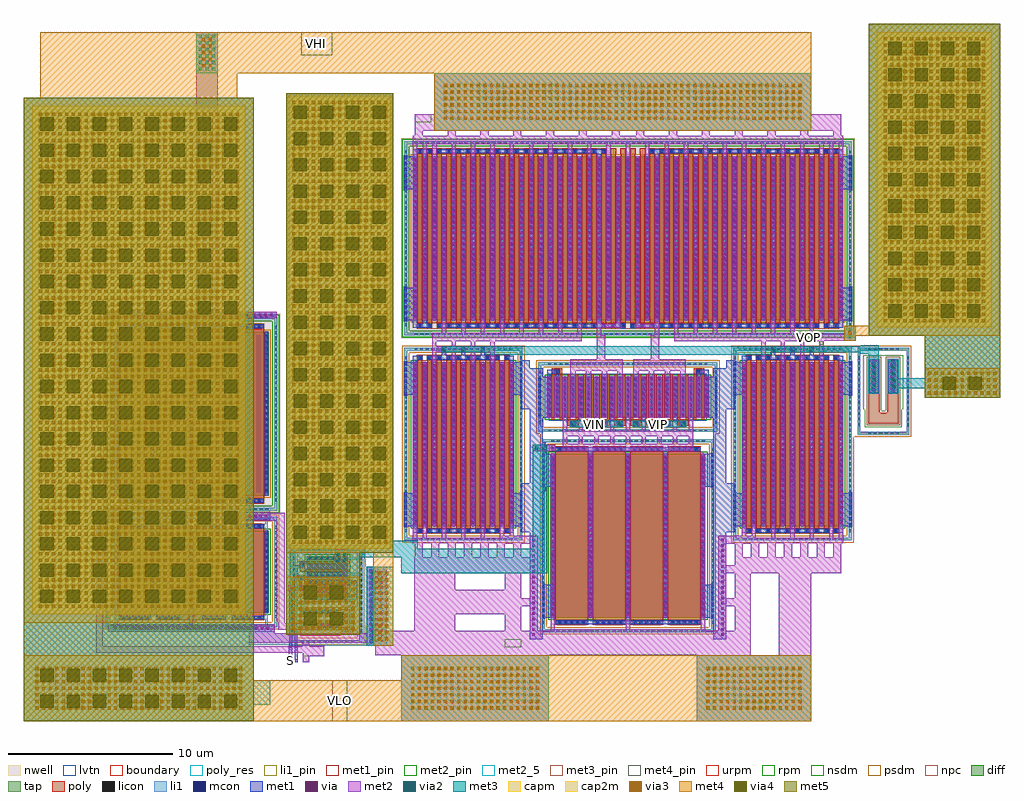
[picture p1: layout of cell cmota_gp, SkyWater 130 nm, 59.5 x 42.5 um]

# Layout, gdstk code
from math import pi, radians
import gdstk
lib = gdstk.Library(unit=1e-6, precision=1e-09)
def R(c, l, rs):  # rectangles x0, y0, x1, y1
    for r in rs: c.add(gdstk.rectangle(r[:2], r[2:], *l))
def A(c, l, x, y, w, h, nx, ny, dx, dy):  # array of equal rectangles
    R(c, l, [(x+i*dx, y+j*dy, x+i*dx+w, y+j*dy+h) for i in range(nx) for j in range(ny)])
nwell = (64, 20)
diff = (65, 20)
tap = (65, 44)
poly_res = (66, 13)
poly = (66, 20)
licon = (66, 44)
li1_pin = (67, 16)
li1 = (67, 20)
mcon = (67, 44)
met1_pin = (68, 16)
met1 = (68, 20)
via = (68, 44)
met2_5 = (69, 5)
met2_pin = (69, 16)
met2 = (69, 20)
via2 = (69, 44)
met3_pin = (70, 16)
met3 = (70, 20)
via3 = (70, 44)
met4_pin = (71, 16)
met4 = (71, 20)
via4 = (71, 44)
met5 = (72, 20)
urpm = (79, 20)
rpm = (86, 20)
capm = (89, 44)
nsdm = (93, 44)
psdm = (94, 20)
npc = (95, 20)
cap2m = (97, 44)
lvtn = (125, 44)
boundary = (235, 4)

imirror2 = lib.new_cell('imirror2')
R(imirror2, nwell, [(19.49,7.09,30.32,19.28)])
R(imirror2, diff, [(20.175,1.035,29.625,6.035), (20.18,8.185,29.63,18.185)])
R(imirror2, tap, [(19.665,0.165,30.135,0.335), (19.665,0.335,19.835,6.735), (29.965,0.335,30.135,6.735), (19.665,6.735,30.135,6.905), (19.67,7.27,30.14,7.44), (19.67,7.44,19.84,18.93), (29.97,7.44,30.14,18.93), (19.67,18.93,30.14,19.1)])
A(imirror2, poly, 20.465, 0.595, 2, 5.88, 4, 1, 2.29, 0)
A(imirror2, poly, 20.47, 7.7, 2, 10.97, 4, 1, 2.29, 0)
A(imirror2, licon, 20.225, 0.165, 0.17, 0.17, 28, 2, 0.34, 6.57)
A(imirror2, licon, 20.7, 0.675, 0.17, 0.17, 5, 2, 0.34, 5.55)
A(imirror2, licon, 22.91, 0.675, 0.17, 0.17, 4, 1, 0.34, 0)
A(imirror2, licon, 25.7, 0.675, 0.17, 0.17, 4, 1, 0.34, 0)
A(imirror2, licon, 27.57, 0.675, 0.17, 0.17, 5, 2, 0.34, 5.55)
A(imirror2, licon, 19.665, 0.73, 0.17, 0.17, 1, 17, 0, 0.34)
A(imirror2, licon, 29.965, 0.73, 0.17, 0.17, 1, 17, 0, 0.34)
A(imirror2, licon, 20.235, 1.24, 0.17, 0.17, 5, 14, 2.29, 0.34)
A(imirror2, licon, 22.99, 6.225, 0.17, 0.17, 5, 1, 0.34, 0)
A(imirror2, licon, 25.28, 6.225, 0.17, 0.17, 5, 1, 0.34, 0)
A(imirror2, licon, 20.23, 7.27, 0.17, 0.17, 28, 2, 0.34, 11.66)
A(imirror2, licon, 20.705, 7.78, 0.17, 0.17, 5, 2, 0.34, 10.64)
A(imirror2, licon, 22.995, 7.78, 0.17, 0.17, 5, 2, 0.34, 10.64)
A(imirror2, licon, 25.285, 7.78, 0.17, 0.17, 5, 2, 0.34, 10.64)
A(imirror2, licon, 27.575, 7.78, 0.17, 0.17, 5, 2, 0.34, 10.64)
A(imirror2, licon, 19.67, 7.83, 0.17, 0.17, 1, 32, 0, 0.34)
A(imirror2, licon, 29.97, 7.83, 0.17, 0.17, 1, 32, 0, 0.34)
A(imirror2, licon, 20.24, 8.34, 0.17, 0.17, 5, 29, 2.29, 0.34)
A(imirror2, li1, 20.47, 7.78, 2, 0.17, 4, 2, 2.29, 10.64)
A(imirror2, li1, 20.24, 8.165, 0.17, 10.04, 5, 1, 2.29, 0)
R(imirror2, li1, [(19.8,-0.1,30,0.165), (19.665,0.165,30.135,0.335), (19.665,0.335,19.835,6.735), (20.235,0.335,20.405,0.675), (24.815,0.335,24.985,6.055), (29.395,0.335,29.565,0.675), (29.965,0.335,30.135,6.735), (20.235,0.675,22.465,0.845), (22.755,0.675,24.255,0.845), (25.545,0.675,27.045,0.845), (27.335,0.675,29.565,0.845), (20.235,0.845,20.405,6.225), (29.395,0.845,29.565,6.225), (22.525,1.015,22.695,6.055), (27.105,1.015,27.275,6.055), (20.235,6.225,22.465,6.395), (22.755,6.225,24.755,6.395), (25.045,6.225,27.045,6.395), (27.335,6.225,29.565,6.395), (20.235,6.395,20.405,6.735), (29.395,6.395,29.565,6.735), (19.665,6.735,30.135,6.905), (19.67,7.27,30.14,7.44), (19.67,7.44,19.84,18.93), (29.97,7.44,30.14,18.93), (19.67,18.93,30.14,19.1), (19.8,19.1,30.1,19.4)])
A(imirror2, mcon, 20.135, 0.015, 0.17, 0.17, 27, 1, 0.36, 0)
A(imirror2, mcon, 20.66, 0.675, 0.17, 0.17, 5, 2, 0.36, 5.55)
A(imirror2, mcon, 22.88, 0.675, 0.17, 0.17, 4, 1, 0.36, 0)
A(imirror2, mcon, 25.67, 0.675, 0.17, 0.17, 4, 1, 0.36, 0)
A(imirror2, mcon, 27.53, 0.675, 0.17, 0.17, 5, 2, 0.36, 5.55)
A(imirror2, mcon, 20.235, 1.11, 0.17, 0.17, 5, 14, 2.29, 0.36)
A(imirror2, mcon, 22.95, 6.225, 0.17, 0.17, 5, 1, 0.36, 0)
A(imirror2, mcon, 25.24, 6.225, 0.17, 0.17, 5, 1, 0.36, 0)
A(imirror2, mcon, 20.665, 7.78, 0.17, 0.17, 5, 2, 0.36, 10.64)
A(imirror2, mcon, 22.955, 7.78, 0.17, 0.17, 5, 2, 0.36, 10.64)
A(imirror2, mcon, 25.245, 7.78, 0.17, 0.17, 5, 2, 0.36, 10.64)
A(imirror2, mcon, 27.535, 7.78, 0.17, 0.17, 5, 2, 0.36, 10.64)
A(imirror2, mcon, 20.24, 8.42, 0.17, 0.17, 5, 27, 2.29, 0.36)
A(imirror2, mcon, 20.005, 19.115, 0.17, 0.17, 28, 1, 0.36, 0)
A(imirror2, met1, 20.49, 18.39, 1.96, 0.23, 4, 1, 2.29, 0)
R(imirror2, met1, [(19.8,-0.1,30,0.3), (20.485,0.645,22.445,0.875), (22.775,0.645,24.235,0.875), (25.565,0.645,27.025,0.875), (27.355,0.645,29.315,0.875), (20.205,1.035,20.435,6.035), (22.48,1.035,22.74,6.035), (24.77,1.035,25.03,6.035), (27.06,1.035,27.32,5.73), (29.365,1.035,29.595,6.035), (26.745,5.73,27.32,6.035), (26.745,6.035,27.05,6.195), (20.485,6.195,22.445,6.425), (22.775,6.195,24.735,6.425), (25.065,6.195,27.05,6.425), (27.355,6.195,29.315,6.425), (22.775,6.425,24.73,6.6), (26.745,6.425,27.05,6.725), (19.7,6.6,24.73,6.66), (19.7,6.66,24.6,7.1), (27.6,6.7,29.7,6.725), (26.745,6.725,29.7,7.03), (27.6,7.03,29.7,7.2), (19.7,7.1,21.3,7.3), (20.49,7.75,22.45,7.98), (22.78,7.75,27.03,7.78), (27.36,7.75,29.32,7.98), (22.76,7.78,27.03,7.98), (22.76,7.98,23.035,8.185), (20.21,8.185,20.44,18.185), (22.485,8.185,23.035,8.475), (24.775,8.185,25.035,18.185), (27.065,8.185,27.325,18.185), (29.37,8.185,29.6,18.185), (22.485,8.475,22.745,18.185), (19.8,19,30.1,19.4)])
A(imirror2, via, 20.185, 0.025, 0.15, 0.15, 30, 1, 0.32, 0)
A(imirror2, via, 22.535, 1.22, 0.15, 0.15, 3, 15, 2.29, 0.32)
A(imirror2, via, 27.775, 6.875, 0.15, 0.15, 6, 1, 0.32, 0)
A(imirror2, via, 19.945, 6.925, 0.15, 0.15, 4, 1, 0.32, 0)
A(imirror2, via, 22.54, 8.31, 0.15, 0.15, 3, 31, 2.29, 0.32)
A(imirror2, via, 20.075, 19.125, 0.15, 0.15, 31, 1, 0.32, 0)
R(imirror2, met2_5, [(19.8,-0.1,20,0.3), (29.6,6.7,29.7,7.2), (19.8,19,20,19.4)])
R(imirror2, met2_pin, [(19.5,6.6,19.8,7.3)])
R(imirror2, met2, [(19.8,-0.1,30,0.3), (24.77,0.3,25.03,6.035), (22.48,1.035,22.74,8.185), (27.06,1.035,27.32,8.185), (19.5,6.6,19.8,6.7), (19.5,6.7,21.3,7.3), (27.6,6.7,29.7,7.2), (22.48,8.185,22.745,15.94), (24.775,8.185,25.035,19), (27.06,8.185,27.325,8.295), (27.065,8.295,27.325,18.185), (22.485,15.94,22.745,18.185), (19.8,19,30.1,19.4)])
R(imirror2, nsdm, [(20.05,0.91,29.75,6.16), (19.545,7.145,30.265,7.565), (19.545,7.565,19.965,18.805), (29.845,7.565,30.265,18.805), (19.545,18.805,30.265,19.225)])
R(imirror2, psdm, [(19.54,0.04,30.26,0.46), (19.54,0.46,19.96,6.61), (29.84,0.46,30.26,6.61), (19.54,6.61,30.26,7.03), (20.055,8.06,29.755,18.31)])
A(imirror2, npc, 20.6, 6.125, 1.73, 0.37, 4, 1, 2.29, 0)
A(imirror2, npc, 20.605, 7.68, 1.73, 0.37, 4, 2, 2.29, 10.64)
R(imirror2, npc, [(20.6,0.575,22.33,0.945), (22.81,0.575,24.2,0.945), (25.6,0.575,26.99,0.945), (27.47,0.575,29.2,0.945)])
imirror2.add(gdstk.Label('IN', (19.65,6.95), layer=69, texttype=16))
imirror2.add(gdstk.Label('OUT', (29.65,6.95), layer=69, texttype=5))
imirror2.add(gdstk.Label('VHI', (19.9,19.2), layer=69, texttype=5))
imirror2.add(gdstk.Label('VLO', (19.9,0.1), layer=69, texttype=5))

gated_iref_fix = lib.new_cell('gated_iref_fix')
R(gated_iref_fix, diff, [(8.1,0.75,10.79,3.25)])
R(gated_iref_fix, tap, [(5.51,-0.12,11.3,0.05), (5.51,0.05,5.68,3.95), (11.13,0.05,11.3,3.95), (5.51,3.95,11.3,4.12)])
R(gated_iref_fix, poly_res, [(6.39,2.63,6.74,3.02), (7.22,2.63,7.57,3.02), (6.39,3.02,7.57,3.37)])
R(gated_iref_fix, poly, [(9.285,0.22,9.6,0.66), (8.41,0.31,9.04,0.64), (9.85,0.31,10.48,0.64), (6.39,0.53,6.74,3.02), (7.22,0.53,7.57,3.02), (8.41,0.64,8.56,3.38), (8.89,0.64,9.04,3.38), (9.85,0.64,10,3.38), (10.33,0.64,10.48,3.38), (9.37,0.66,9.52,3.38), (6.39,3.02,7.57,3.37)])
A(gated_iref_fix, licon, 6.16, -0.12, 0.17, 0.17, 14, 2, 0.34, 4.07)
A(gated_iref_fix, licon, 5.51, 0.385, 0.17, 0.17, 1, 10, 0, 0.34)
A(gated_iref_fix, licon, 11.13, 0.385, 0.17, 0.17, 1, 10, 0, 0.34)
A(gated_iref_fix, licon, 8.16, 0.895, 0.17, 0.17, 6, 7, 0.48, 0.34)
R(gated_iref_fix, licon, [(9.36,0.355,9.53,0.525), (8.79,0.39,8.96,0.56), (10.23,0.39,10.4,0.56), (6.47,0.61,6.66,2.61), (7.3,0.61,7.49,2.61)])
R(gated_iref_fix, li1_pin, [(5.34,4.31,6.62,4.4)])
R(gated_iref_fix, li1, [(5.4,-2.8,6.4,-1.2), (5.4,-1.2,6.1,-0.29), (5.34,-0.29,11.47,0.05), (5.34,0.05,5.68,3.95), (9.345,0.05,9.545,0.355), (11.13,0.05,11.47,3.95), (6.39,0.335,6.74,2.69), (7.22,0.335,8.33,0.59), (9.28,0.355,9.61,0.525), (8.71,0.39,9.04,0.56), (10.15,0.39,10.48,0.56), (7.22,0.59,7.57,2.69), (8.16,0.59,8.33,3.27), (8.64,0.73,8.81,3.27), (9.12,0.73,9.29,3.27), (9.6,0.73,9.77,3.95), (10.08,0.73,10.25,3.27), (10.56,0.73,10.73,3.95), (5.34,3.95,11.47,4.29), (5.34,4.29,10.62,4.33), (5.34,4.33,10.14,4.9)])
A(gated_iref_fix, mcon, 6.48, 0.545, 0.17, 0.17, 1, 6, 0, 0.36)
A(gated_iref_fix, mcon, 8.16, 0.835, 0.17, 0.17, 6, 7, 0.48, 0.36)
A(gated_iref_fix, mcon, 5.495, 4.565, 0.17, 0.17, 13, 1, 0.36, 0)
R(gated_iref_fix, mcon, [(8.79,0.39,8.96,0.56), (10.23,0.39,10.4,0.56)])
R(gated_iref_fix, met1_pin, [(5.2,-0.31,5.32,-0.15), (5.2,0,5.32,0.16)])
R(gated_iref_fix, met1, [(8.64,-0.405,9.04,-0.315), (5.195,-0.315,9.045,-0.145), (5.19,-0.005,10.25,0.165), (10.08,0.165,10.25,0.36), (8.64,0.33,9.04,0.59), (6.39,0.335,6.74,2.69), (10.08,0.36,10.48,0.59), (10.035,0.745,10.295,3.25), (8.13,0.75,8.36,3.59), (8.595,0.75,8.855,3.25), (9.09,0.75,9.32,3.59), (9.57,0.75,9.8,3.25), (10.53,0.75,10.76,3.25), (8.13,3.59,9.32,3.79), (5.34,4.4,10.14,5.6)])
A(gated_iref_fix, via, 6.49, 0.645, 0.15, 0.15, 1, 6, 0, 0.32)
A(gated_iref_fix, via, 8.65, 0.965, 0.15, 0.15, 1, 7, 0, 0.32)
A(gated_iref_fix, via, 10.09, 0.965, 0.15, 0.15, 1, 7, 0, 0.32)
A(gated_iref_fix, via, 5.585, 4.605, 0.15, 0.15, 14, 3, 0.32, 0.32)
R(gated_iref_fix, via, [(8.755,-0.35,8.905,-0.2), (8.75,0.385,8.9,0.535)])
R(gated_iref_fix, met2, [(4.9,-12.1,13.6,-11.7), (4.9,-11.7,5.3,1), (12.9,-11.7,13.6,-11.4), (12.95,-3.55,13.45,-1.1), (5.5,-2.8,6.2,-1.2), (5.5,-1.2,6.1,4.4), (6.8,-1.1,13.45,-1), (6.3,-1,13.45,-0.6), (6.3,-0.6,6.7,0.335), (8.64,-0.405,9.04,-0.145), (8.7,-0.145,8.96,0.33), (8.64,0.33,9.04,0.59), (6.3,0.335,6.74,1.5), (10.035,0.745,10.295,2.45), (8.595,0.75,8.855,2.9), (4.7,1,5.3,1.8), (6.39,1.5,6.74,2.69), (10.035,2.45,11.2,2.9), (8.595,2.9,11.2,3.25), (5.34,4.4,10.14,5.6)])
A(gated_iref_fix, via2, 5.64, 4.7, 0.2, 0.2, 11, 2, 0.4, 0.4)
R(gated_iref_fix, via2, [(10.425,2.55,10.625,2.75), (10.825,2.55,11.025,2.75), (10.425,2.95,10.625,3.15), (10.825,2.95,11.025,3.15)])
R(gated_iref_fix, met3, [(6,-0.5,39,4), (11,4,39,6), (5.34,4.4,10.14,6)])
A(gated_iref_fix, via3, 6.275, -0.15, 0.2, 0.2, 8, 10, 0.4, 0.4)
A(gated_iref_fix, via3, 11.55, -0.15, 0.2, 0.2, 68, 15, 0.4, 0.4)
A(gated_iref_fix, via3, 5.64, 5.1, 0.2, 0.2, 11, 2, 0.4, 0.4)
R(gated_iref_fix, met4, [(6,-0.5,9.55,4), (11,-0.5,39,4.8), (5.34,4.8,39,6)])
A(gated_iref_fix, via4, 11.85, -0.05, 0.8, 0.8, 17, 4, 1.6, 1.6)
R(gated_iref_fix, via4, [(6.575,0.55,7.375,1.35), (8.175,0.55,8.975,1.35), (6.575,2.15,7.375,2.95), (8.175,2.15,8.975,2.95)])
R(gated_iref_fix, met5, [(6,-0.5,39,4), (11,4,39,6)])
R(gated_iref_fix, urpm, [(5.93,0.33,8.03,2.82), (6.19,2.82,7.77,3.57)])
R(gated_iref_fix, capm, [(11.25,-0.35,38.85,5.85)])
R(gated_iref_fix, nsdm, [(7.975,0.625,10.915,3.375)])
R(gated_iref_fix, psdm, [(5.385,-0.245,11.425,0.175), (5.385,0.175,5.805,3.825), (6.28,0.175,7.68,3.825), (11.005,0.175,11.425,3.825), (5.385,3.825,11.425,4.245)])
R(gated_iref_fix, npc, [(9.26,0.255,9.63,0.29), (8.69,0.29,9.63,0.625), (10.13,0.29,10.5,0.66), (6.295,0.435,6.835,2.925), (7.125,0.435,7.665,2.925), (8.69,0.625,9.06,0.66), (6.295,2.925,7.665,3.465)])
R(gated_iref_fix, cap2m, [(11.25,-0.35,38.85,5.85)])
gated_iref_fix.add(gdstk.Reference(imirror2, (6.3,-31.2), rotation=pi/2, x_reflection=True))
gated_iref_fix.add(gdstk.Label('VSUB', (5.98,4.355), layer=67, texttype=16))
gated_iref_fix.add(gdstk.Label('SBAR', (5.26,0.08), layer=68, texttype=16))
gated_iref_fix.add(gdstk.Label('S', (5.26,-0.23), layer=68, texttype=16))

sky130_fd_pr__res_high_p = lib.new_cell('sky130_fd_pr__res_high_po_0p69_N63KD6')
R(sky130_fd_pr__res_high_p, tap, [(-1.58,-2.64,1.58,-2.47), (-1.58,-2.47,-1.41,2.47), (1.41,-2.47,1.58,2.47), (-1.58,2.47,1.58,2.64)])
R(sky130_fd_pr__res_high_p, poly_res, [(-0.93,0.11,-0.24,1.3), (0.24,0.11,0.93,1.3), (-0.93,1.3,0.93,1.99)])
R(sky130_fd_pr__res_high_p, poly, [(-0.93,-1.99,-0.24,1.3), (0.24,-1.99,0.93,1.3), (-0.93,1.3,0.93,1.99)])
A(sky130_fd_pr__res_high_p, licon, -0.935, -2.64, 0.17, 0.17, 6, 2, 0.34, 5.11)
A(sky130_fd_pr__res_high_p, licon, -1.58, -2.125, 0.17, 0.17, 1, 13, 0, 0.34)
A(sky130_fd_pr__res_high_p, licon, 1.41, -2.125, 0.17, 0.17, 1, 13, 0, 0.34)
R(sky130_fd_pr__res_high_p, licon, [(-0.68,-1.91,-0.49,0.09), (0.49,-1.91,0.68,0.09)])
R(sky130_fd_pr__res_high_p, li1, [(-1.58,-2.64,1.58,-2.47), (-1.58,-2.47,-1.41,2.47), (1.41,-2.47,1.58,2.47), (-0.93,-1.99,-0.24,0.17), (0.24,-1.99,0.93,0.17), (-1.58,2.47,1.58,2.64)])
R(sky130_fd_pr__res_high_p, rpm, [(-1.22,-2.19,1.22,1.1), (-1.13,1.1,1.13,2.19)])
R(sky130_fd_pr__res_high_p, psdm, [(-1.705,-2.765,1.705,2.765)])
R(sky130_fd_pr__res_high_p, npc, [(-1.025,-2.085,-0.145,1.205), (0.145,-2.085,1.025,1.205), (-1.025,1.205,1.025,2.085)])
R(sky130_fd_pr__res_high_p, boundary, [(-1.49,-2.55,1.49,2.55)])

cmota_1_flat_1 = lib.new_cell('cmota_1_flat_1')
R(cmota_1_flat_1, nwell, [(-0.815,0.33,26.815,12.52)])
R(cmota_1_flat_1, diff, [(8.275,-16.7,17.725,-6.7), (-0.13,-11.12,6.06,-1.12), (19.935,-11.12,26.125,-1.12), (8.055,-4.5,17.945,-2), (-0.125,1.425,26.125,11.425)])
R(cmota_1_flat_1, tap, [(7.765,-17.57,18.235,-17.4), (7.765,-17.4,7.935,-6), (18.065,-17.4,18.235,-6), (-0.64,-11.99,6.57,-11.82), (19.425,-11.99,26.635,-11.82), (-0.64,-11.82,-0.47,-0.42), (6.4,-11.82,6.57,-0.42), (19.425,-11.82,19.595,-0.42), (26.465,-11.82,26.635,-0.42), (7.765,-6,18.235,-5.83), (7.545,-5.37,18.455,-5.2), (7.545,-5.2,7.715,-1.3), (18.285,-5.2,18.455,-1.3), (7.545,-1.3,18.455,-1.13), (-0.64,-0.42,6.57,-0.25), (19.425,-0.42,26.635,-0.25), (-0.635,0.51,26.635,0.68), (-0.635,0.68,-0.465,12.17), (26.465,0.68,26.635,12.17), (-0.635,12.17,26.635,12.34)])
A(cmota_1_flat_1, poly, 8.565, -17.14, 2, 10.88, 4, 1, 2.29, 0)
A(cmota_1_flat_1, poly, 0.145, -11.56, 0.33, 0.33, 10, 2, 0.59, 10.55)
A(cmota_1_flat_1, poly, 20.21, -11.56, 0.33, 0.33, 10, 2, 0.59, 10.55)
A(cmota_1_flat_1, poly, 0.16, -11.23, 0.3, 10.22, 10, 1, 0.59, 0)
A(cmota_1_flat_1, poly, 20.225, -11.23, 0.3, 10.22, 10, 1, 0.59, 0)
A(cmota_1_flat_1, poly, 9.325, -5, 0.63, 0.39, 8, 1, 0.96, 0)
A(cmota_1_flat_1, poly, 9.325, -4.61, 0.15, 2.74, 16, 1, 0.48, 0)
A(cmota_1_flat_1, poly, 0.15, 0.94, 0.33, 0.33, 44, 2, 0.59, 10.64)
A(cmota_1_flat_1, poly, 0.165, 1.27, 0.3, 10.31, 44, 1, 0.59, 0)
R(cmota_1_flat_1, poly, [(8.365,-4.63,8.515,-1.87), (8.845,-4.63,8.995,-1.87), (17.005,-4.63,17.155,-1.87), (17.485,-4.63,17.635,-1.87), (8.365,-1.87,8.995,-1.48), (17.005,-1.87,17.635,-1.48)])
A(cmota_1_flat_1, licon, 8.325, -17.57, 0.17, 0.17, 28, 2, 0.34, 11.57)
A(cmota_1_flat_1, licon, 8.8, -17.06, 0.17, 0.17, 5, 2, 0.34, 10.55)
A(cmota_1_flat_1, licon, 11.09, -17.06, 0.17, 0.17, 5, 2, 0.34, 10.55)
A(cmota_1_flat_1, licon, 13.38, -17.06, 0.17, 0.17, 5, 2, 0.34, 10.55)
A(cmota_1_flat_1, licon, 15.67, -17.06, 0.17, 0.17, 5, 2, 0.34, 10.55)
A(cmota_1_flat_1, licon, 7.765, -17.055, 0.17, 0.17, 1, 32, 0, 0.34)
A(cmota_1_flat_1, licon, 18.065, -17.055, 0.17, 0.17, 1, 32, 0, 0.34)
A(cmota_1_flat_1, licon, 8.335, -16.545, 0.17, 0.17, 5, 29, 2.29, 0.34)
A(cmota_1_flat_1, licon, -0.01, -11.99, 0.17, 0.17, 18, 2, 0.34, 11.57)
A(cmota_1_flat_1, licon, 20.055, -11.99, 0.17, 0.17, 18, 2, 0.34, 11.57)
A(cmota_1_flat_1, licon, 0.225, -11.48, 0.17, 0.17, 10, 2, 0.59, 10.55)
A(cmota_1_flat_1, licon, 20.29, -11.48, 0.17, 0.17, 10, 2, 0.59, 10.55)
A(cmota_1_flat_1, licon, -0.64, -11.475, 0.17, 0.17, 1, 32, 0, 0.34)
A(cmota_1_flat_1, licon, 6.4, -11.475, 0.17, 0.17, 1, 32, 0, 0.34)
A(cmota_1_flat_1, licon, 19.425, -11.475, 0.17, 0.17, 1, 32, 0, 0.34)
A(cmota_1_flat_1, licon, 26.465, -11.475, 0.17, 0.17, 1, 32, 0, 0.34)
A(cmota_1_flat_1, licon, -0.07, -10.965, 0.17, 0.17, 11, 29, 0.59, 0.34)
A(cmota_1_flat_1, licon, 19.995, -10.965, 0.17, 0.17, 11, 29, 0.59, 0.34)
A(cmota_1_flat_1, licon, 8.155, -5.37, 0.17, 0.17, 29, 2, 0.34, 4.07)
A(cmota_1_flat_1, licon, 9.555, -4.92, 0.17, 0.17, 8, 1, 0.96, 0)
A(cmota_1_flat_1, licon, 7.545, -4.865, 0.17, 0.17, 1, 10, 0, 0.34)
A(cmota_1_flat_1, licon, 18.285, -4.865, 0.17, 0.17, 1, 10, 0, 0.34)
A(cmota_1_flat_1, licon, 8.115, -4.355, 0.17, 0.17, 21, 7, 0.48, 0.34)
A(cmota_1_flat_1, licon, -0.005, 0.51, 0.17, 0.17, 77, 2, 0.34, 11.66)
A(cmota_1_flat_1, licon, 0.23, 1.02, 0.17, 0.17, 44, 1, 0.59, 0)
A(cmota_1_flat_1, licon, -0.635, 1.07, 0.17, 0.17, 1, 32, 0, 0.34)
A(cmota_1_flat_1, licon, 26.465, 1.07, 0.17, 0.17, 1, 32, 0, 0.34)
A(cmota_1_flat_1, licon, -0.065, 1.58, 0.17, 0.17, 45, 29, 0.59, 0.34)
A(cmota_1_flat_1, licon, 0.23, 11.66, 0.17, 0.17, 20, 1, 0.59, 0)
A(cmota_1_flat_1, licon, 14.39, 11.66, 0.17, 0.17, 20, 1, 0.59, 0)
R(cmota_1_flat_1, licon, [(8.595,-1.79,8.765,-1.62), (17.235,-1.79,17.405,-1.62)])
A(cmota_1_flat_1, li1, 8.565, -17.06, 2, 0.17, 4, 2, 2.29, 10.55)
A(cmota_1_flat_1, li1, 8.335, -16.72, 0.17, 10.04, 5, 1, 2.29, 0)
A(cmota_1_flat_1, li1, 0.145, -11.48, 0.33, 0.17, 10, 2, 0.59, 10.55)
A(cmota_1_flat_1, li1, 20.21, -11.48, 0.33, 0.17, 10, 2, 0.59, 10.55)
A(cmota_1_flat_1, li1, -0.07, -11.14, 0.17, 10.04, 11, 1, 0.59, 0)
A(cmota_1_flat_1, li1, 19.995, -11.14, 0.17, 10.04, 11, 1, 0.59, 0)
A(cmota_1_flat_1, li1, 9.475, -4.92, 0.33, 0.17, 8, 1, 0.96, 0)
A(cmota_1_flat_1, li1, 8.115, -4.52, 0.17, 2.54, 21, 1, 0.48, 0)
A(cmota_1_flat_1, li1, 0.15, 1.02, 0.33, 0.17, 44, 1, 0.59, 0)
A(cmota_1_flat_1, li1, -0.065, 1.405, 0.17, 10.04, 45, 1, 0.59, 0)
A(cmota_1_flat_1, li1, 0.15, 11.66, 0.33, 0.17, 20, 1, 0.59, 0)
A(cmota_1_flat_1, li1, 14.31, 11.66, 0.33, 0.17, 20, 1, 0.59, 0)
R(cmota_1_flat_1, li1, [(7.765,-17.57,18.235,-17.4), (7.765,-17.4,7.935,-6), (18.065,-17.4,18.235,-6), (-0.64,-11.99,6.57,-11.82), (19.425,-11.99,26.635,-11.82), (-0.64,-11.82,-0.47,-0.42), (6.4,-11.82,6.57,-0.42), (19.425,-11.82,19.595,-0.42), (26.465,-11.82,26.635,-0.42), (7.765,-6,18.235,-5.83), (7.545,-5.37,18.455,-5.2), (7.545,-5.2,7.715,-1.3), (18.285,-5.2,18.455,-1.3), (8.515,-1.79,8.845,-1.62), (17.155,-1.79,17.485,-1.62), (7.545,-1.3,18.455,-1.13), (-0.64,-0.42,6.57,-0.25), (19.425,-0.42,26.635,-0.25), (-0.635,0.51,26.635,0.68), (-0.635,0.68,-0.465,12.17), (26.465,0.68,26.635,12.17), (-0.635,12.17,26.635,12.34)])
A(cmota_1_flat_1, mcon, 8.76, -17.06, 0.17, 0.17, 5, 2, 0.36, 10.55)
A(cmota_1_flat_1, mcon, 11.05, -17.06, 0.17, 0.17, 5, 2, 0.36, 10.55)
A(cmota_1_flat_1, mcon, 13.34, -17.06, 0.17, 0.17, 5, 2, 0.36, 10.55)
A(cmota_1_flat_1, mcon, 15.63, -17.06, 0.17, 0.17, 5, 2, 0.36, 10.55)
A(cmota_1_flat_1, mcon, 7.765, -16.685, 0.17, 0.17, 1, 6, 0, 0.36)
A(cmota_1_flat_1, mcon, 18.065, -16.685, 0.17, 0.17, 1, 6, 0, 0.36)
A(cmota_1_flat_1, mcon, 8.335, -16.465, 0.17, 0.17, 5, 27, 2.29, 0.36)
A(cmota_1_flat_1, mcon, 0.225, -11.48, 0.17, 0.17, 10, 2, 0.59, 10.55)
A(cmota_1_flat_1, mcon, 20.29, -11.48, 0.17, 0.17, 10, 2, 0.59, 10.55)
A(cmota_1_flat_1, mcon, -0.64, -11.105, 0.17, 0.17, 1, 6, 0, 0.36)
A(cmota_1_flat_1, mcon, 6.4, -11.105, 0.17, 0.17, 1, 6, 0, 0.36)
A(cmota_1_flat_1, mcon, 19.425, -11.105, 0.17, 0.17, 1, 6, 0, 0.36)
A(cmota_1_flat_1, mcon, 26.465, -11.105, 0.17, 0.17, 1, 6, 0, 0.36)
A(cmota_1_flat_1, mcon, -0.07, -10.885, 0.17, 0.17, 11, 27, 0.59, 0.36)
A(cmota_1_flat_1, mcon, 19.995, -10.885, 0.17, 0.17, 11, 27, 0.59, 0.36)
A(cmota_1_flat_1, mcon, 7.765, -8.685, 0.17, 0.17, 1, 6, 0, 0.36)
A(cmota_1_flat_1, mcon, 18.065, -8.685, 0.17, 0.17, 1, 6, 0, 0.36)
A(cmota_1_flat_1, mcon, 9.555, -4.92, 0.17, 0.17, 8, 1, 0.96, 0)
A(cmota_1_flat_1, mcon, 7.545, -4.415, 0.17, 0.17, 1, 7, 0, 0.36)
A(cmota_1_flat_1, mcon, 8.115, -4.415, 0.17, 0.17, 21, 7, 0.48, 0.36)
A(cmota_1_flat_1, mcon, 18.285, -4.415, 0.17, 0.17, 1, 7, 0, 0.36)
A(cmota_1_flat_1, mcon, -0.64, -3.105, 0.17, 0.17, 1, 6, 0, 0.36)
A(cmota_1_flat_1, mcon, 6.4, -3.105, 0.17, 0.17, 1, 6, 0, 0.36)
A(cmota_1_flat_1, mcon, 19.425, -3.105, 0.17, 0.17, 1, 6, 0, 0.36)
A(cmota_1_flat_1, mcon, 26.465, -3.105, 0.17, 0.17, 1, 6, 0, 0.36)
A(cmota_1_flat_1, mcon, 0.23, 1.02, 0.17, 0.17, 44, 1, 0.59, 0)
A(cmota_1_flat_1, mcon, -0.635, 1.44, 0.17, 0.17, 1, 6, 0, 0.36)
A(cmota_1_flat_1, mcon, 26.465, 1.44, 0.17, 0.17, 1, 6, 0, 0.36)
A(cmota_1_flat_1, mcon, -0.065, 1.66, 0.17, 0.17, 45, 27, 0.59, 0.36)
A(cmota_1_flat_1, mcon, -0.635, 9.44, 0.17, 0.17, 1, 6, 0, 0.36)
A(cmota_1_flat_1, mcon, 26.465, 9.44, 0.17, 0.17, 1, 6, 0, 0.36)
A(cmota_1_flat_1, mcon, 0.23, 11.66, 0.17, 0.17, 20, 1, 0.59, 0)
A(cmota_1_flat_1, mcon, 14.39, 11.66, 0.17, 0.17, 20, 1, 0.59, 0)
R(cmota_1_flat_1, mcon, [(8.595,-1.79,8.765,-1.62), (17.235,-1.79,17.405,-1.62)])
R(cmota_1_flat_1, met1_pin, [(8.36,-6.54,8.485,-6.31)])
A(cmota_1_flat_1, met1, 10.58, -16.7, 0.26, 10, 3, 1, 2.29, 0)
A(cmota_1_flat_1, met1, 0.475, -11.12, 0.26, 10, 9, 1, 0.59, 0)
A(cmota_1_flat_1, met1, 20.54, -11.12, 0.26, 10, 9, 1, 0.59, 0)
A(cmota_1_flat_1, met1, 9.445, -5, 0.39, 0.28, 8, 1, 0.96, 0)
A(cmota_1_flat_1, met1, 8.515, -4.5, 0.33, 2.5, 19, 1, 0.48, 0)
A(cmota_1_flat_1, met1, 1.655, -0.73, 0.26, 0.55, 3, 1, 1.18, 0)
A(cmota_1_flat_1, met1, 21.72, -0.73, 0.26, 0.55, 3, 1, 1.18, 0)
A(cmota_1_flat_1, met1, 1.07, 1.425, 0.26, 10, 17, 1, 0.59, 0)
A(cmota_1_flat_1, met1, 11.69, 1.425, 0.26, 10, 4, 1, 1.18, 0)
A(cmota_1_flat_1, met1, 15.82, 1.425, 0.26, 10, 16, 1, 0.59, 0)
R(cmota_1_flat_1, met1, [(7,-18,7.8,-16.76), (18.2,-18,19,-16.76), (8.585,-17.09,17.415,-16.86), (7,-16.76,7.965,-16.7), (18.035,-16.76,19,-16.7), (7,-16.7,8.55,-14.7), (17.45,-16.7,19,-14.7), (7,-14.7,7.965,-14.64), (8.29,-14.7,8.55,-8.7), (17.45,-14.7,17.71,-8.7), (18.035,-14.7,19,-14.64), (7,-14.64,7.8,-11.5), (18.2,-14.64,19,-11.5), (-0.115,-11.51,0.455,-11.28), (0.755,-11.51,5.175,-11.28), (5.475,-11.51,6.045,-11.28), (19.95,-11.51,20.52,-11.28), (20.82,-11.51,25.24,-11.28), (25.54,-11.51,26.11,-11.28), (6.5,-11.5,7.8,-11.18), (18.2,-11.5,19.5,-11.18), (-0.115,-11.28,0.145,-11.12), (5.785,-11.28,6.045,-11.12), (19.95,-11.28,20.21,-11.12), (25.85,-11.28,26.11,-11.12), (-0.67,-11.18,-0.44,-11.12), (6.37,-11.18,7.8,-11.12), (18.2,-11.18,19.625,-11.12), (26.435,-11.18,26.665,-11.12), (-0.67,-11.12,0.145,-9.12), (5.785,-11.12,7.8,-9.12), (18.2,-11.12,20.21,-9.12), (25.85,-11.12,26.665,-9.12), (-0.67,-9.12,-0.44,-9.06), (-0.115,-9.12,0.145,-3.12), (5.785,-9.12,6.045,-3.12), (6.37,-9.12,7.8,-9.06), (18.2,-9.12,19.625,-9.06), (19.95,-9.12,20.21,-3.12), (25.85,-9.12,26.11,-3.12), (26.435,-9.12,26.665,-9.06), (6.5,-9.06,7.8,-9), (18.2,-9.06,19.5,-8.76), (6.5,-9,8,-8.7), (18.035,-8.76,19.5,-8.7), (6.5,-8.7,8.55,-8.5), (17.45,-8.7,19.5,-8.5), (7,-8.5,8.55,-6.7), (17.45,-8.5,19,-6.7), (7,-6.7,8,-6), (18.035,-6.7,19,-6.64), (18.2,-6.64,19,-4.5), (8.36,-6.54,17.415,-6.31), (7,-6,7.8,-4.5), (7,-4.5,8.365,-4), (17.635,-4.5,19,-4), (6.5,-4,8.365,-3.18), (17.635,-4,19.5,-3.18), (-0.67,-3.18,-0.44,-3.12), (6.37,-3.18,8.365,-3.12), (17.635,-3.18,19.625,-3.12), (26.435,-3.18,26.665,-3.12), (-0.67,-3.12,0.145,-1.12), (5.785,-3.12,8.365,-2), (17.635,-3.12,20.21,-2), (25.85,-3.12,26.665,-1.12), (5.785,-2,7.8,-1.5), (8.085,-2,8.315,-1.82), (8.565,-2,8.795,-1.82), (17.205,-2,17.435,-1.82), (17.685,-2,17.915,-1.82), (18.2,-2,20.21,-1.5), (8.085,-1.82,8.845,-1.59), (17.155,-1.82,17.915,-1.59), (5.785,-1.5,7,-1.12), (19,-1.5,20.21,-1.12), (-0.67,-1.12,-0.44,-1.06), (-0.115,-1.12,0.145,-0.96), (5.785,-1.12,6.045,-0.96), (6.37,-1.12,7,-1.06), (19,-1.12,19.625,-1.06), (19.95,-1.12,20.21,-0.96), (25.85,-1.12,26.11,-0.96), (26.435,-1.12,26.665,-1.06), (6.5,-1.06,7,-1), (19,-1.06,19.5,-1), (-0.115,-0.96,0.455,-0.73), (0.755,-0.96,5.175,-0.73), (5.475,-0.96,6.045,-0.73), (19.95,-0.96,20.52,-0.73), (20.82,-0.96,25.24,-0.73), (25.54,-0.96,26.11,-0.73), (12.54,0.905,12.87,0.99), (13.15,0.935,13.445,0.99), (-0.11,0.99,1.05,1.22), (1.35,0.99,12.87,1.22), (13.15,0.99,24.65,1.22), (24.95,0.99,26.11,1.22), (-0.11,1.22,0.15,1.425), (0.48,1.22,0.74,11.63), (11.1,1.22,11.36,11.63), (12.28,1.22,12.87,1.25), (13.46,1.22,13.72,11.425), (14.64,1.22,14.9,11.63), (25.26,1.22,25.52,11.63), (25.85,1.22,26.11,1.425), (12.28,1.25,12.54,11.425), (-0.665,1.365,-0.435,1.425), (26.435,1.365,26.665,1.425), (-0.665,1.425,0.15,3.425), (25.85,1.425,26.665,3.425), (-0.665,3.425,-0.435,3.485), (-0.11,3.425,0.15,9.425), (25.85,3.425,26.11,9.425), (26.435,3.425,26.665,3.485), (-0.665,9.365,-0.435,9.425), (26.435,9.365,26.665,9.425), (-0.665,9.425,0.15,11.425), (25.85,9.425,26.665,11.425), (-0.665,11.425,-0.435,11.485), (-0.11,11.425,0.15,11.63), (25.85,11.425,26.11,11.63), (26.435,11.425,26.665,11.485), (-0.11,11.63,1.05,11.86), (1.35,11.63,11.67,11.86), (14.33,11.63,24.65,11.86), (24.95,11.63,26.11,11.86)])
A(cmota_1_flat_1, via, 7.175, -17.805, 0.15, 0.15, 1, 19, 0, 0.32)
A(cmota_1_flat_1, via, 18.675, -17.805, 0.15, 0.15, 1, 19, 0, 0.32)
A(cmota_1_flat_1, via, 8.345, -16.575, 0.15, 0.15, 5, 31, 2.29, 0.32)
A(cmota_1_flat_1, via, -0.06, -10.995, 0.15, 0.15, 11, 31, 0.59, 0.32)
A(cmota_1_flat_1, via, 20.005, -10.995, 0.15, 0.15, 11, 31, 0.59, 0.32)
A(cmota_1_flat_1, via, 9.565, -4.935, 0.15, 0.15, 8, 1, 0.96, 0)
A(cmota_1_flat_1, via, 8.125, -4.445, 0.15, 0.15, 21, 8, 0.48, 0.32)
A(cmota_1_flat_1, via, 1.71, -0.415, 0.15, 0.15, 3, 1, 1.18, 0)
A(cmota_1_flat_1, via, 21.775, -0.415, 0.15, 0.15, 3, 1, 1.18, 0)
A(cmota_1_flat_1, via, -0.055, 1.55, 0.15, 0.15, 45, 31, 0.59, 0.32)
R(cmota_1_flat_1, met2_pin, [(5.5,-18.5,6.5,-18), (24.7,-0.05,24.9,0.15), (0,13.5,1,14)])
A(cmota_1_flat_1, met2, 8.29, -17.4, 0.26, 10.7, 3, 1, 4.58, 0)
A(cmota_1_flat_1, met2, 0, -13, 0.5, 0.83, 5, 1, 1, 0)
A(cmota_1_flat_1, met2, 5, -13, 0.5, 0.8, 3, 1, 1, 0)
A(cmota_1_flat_1, met2, 21.5, -13, 0.5, 0.83, 5, 1, 1, 0)
A(cmota_1_flat_1, met2, 0.475, -11.82, 0.26, 10.7, 4, 1, 1.18, 0)
A(cmota_1_flat_1, met2, 21.72, -11.82, 0.26, 10.7, 4, 1, 1.18, 0)
A(cmota_1_flat_1, met2, 1.065, -11.12, 0.26, 10.595, 4, 1, 1.18, 0)
A(cmota_1_flat_1, met2, 21.13, -11.12, 0.26, 11.29, 4, 1, 1.18, 0)
A(cmota_1_flat_1, met2, 9.025, -6.08, 0.27, 0.43, 9, 1, 0.96, 0)
A(cmota_1_flat_1, met2, 9.025, -5.3, 0.27, 0.8, 9, 1, 0.96, 0)
A(cmota_1_flat_1, met2, 9.475, -5.1, 0.33, 0.41, 8, 1, 0.96, 0)
A(cmota_1_flat_1, met2, 8.035, -4.5, 0.33, 2.5, 3, 1, 0.48, 0)
A(cmota_1_flat_1, met2, 9.475, -4.5, 0.33, 2.85, 8, 1, 0.96, 0)
A(cmota_1_flat_1, met2, 9.955, -4.5, 0.33, 2.5, 8, 1, 0.96, 0)
A(cmota_1_flat_1, met2, 21.695, -0.525, 0.305, 0.37, 3, 1, 1.18, 0)
A(cmota_1_flat_1, met2, 1.065, -0.155, 0.26, 0.325, 4, 1, 1.18, 0)
A(cmota_1_flat_1, met2, 1.66, 0.68, 0.26, 10.745, 8, 1, 1.18, 0)
A(cmota_1_flat_1, met2, 15.815, 0.68, 0.26, 0.745, 8, 1, 1.18, 0)
A(cmota_1_flat_1, met2, 11.1, 1.22, 0.26, 10.205, 4, 1, 1.18, 0)
A(cmota_1_flat_1, met2, -0.11, 1.425, 0.26, 10.745, 3, 1, 0.59, 0)
A(cmota_1_flat_1, met2, 2.25, 1.425, 0.26, 10.745, 9, 1, 1.18, 0)
A(cmota_1_flat_1, met2, 14.05, 1.425, 0.26, 10.745, 11, 1, 1.18, 0)
A(cmota_1_flat_1, met2, 15.815, 1.425, 0.265, 0.4, 9, 1, 1.18, 0)
A(cmota_1_flat_1, met2, 15.82, 1.825, 0.26, 9.6, 8, 1, 1.18, 0)
A(cmota_1_flat_1, met2, 0, 12.68, 0.5, 0.32, 7, 1, 2, 0)
A(cmota_1_flat_1, met2, 13.5, 12.68, 0.5, 0.32, 7, 1, 2, 0)
R(cmota_1_flat_1, met2, [(5.5,-19,20.5,-17.5), (5.5,-17.5,6.5,-16), (7,-17.5,7.5,-16), (8.29,-17.5,17.71,-17.4), (18.5,-17.5,19,-16), (19.5,-17.5,20.5,-16), (10.58,-16.7,10.84,-6.54), (15.16,-16.7,15.42,-6.54), (5.5,-16,7.5,-15.5), (18.5,-16,20.5,-15.5), (5.5,-15.5,6.5,-14), (7,-15.5,7.5,-14), (18.5,-15.5,19,-14), (19.5,-15.5,20.5,-14), (0,-14,7.5,-13), (18.5,-14,26,-13.5), (18.5,-13.5,19,-12.2), (19.5,-13.5,26,-13), (19.5,-13,20,-12.2), (20.5,-13,21,-12.2), (5,-12.2,7.5,-12.17), (18.5,-12.2,21,-12.17), (-0.115,-12.17,7.5,-11.82), (18.5,-12.17,26.11,-11.82), (-0.115,-11.82,0.145,-1.12), (5.195,-11.82,7.5,-11.7), (18.5,-11.82,20.8,-11.7), (25.85,-11.82,26.11,-1.12), (5.195,-11.7,5.455,-1.12), (5.785,-11.7,6.045,-1.12), (19.95,-11.7,20.21,-1.12), (20.54,-11.7,20.8,-1.12), (9.025,-6.54,16.975,-6.08), (9.025,-5.65,16.975,-5.3), (17.155,-4.5,17.485,-2), (17.635,-4.5,17.965,-2), (9.475,-1.65,12.685,-0.95), (13.315,-1.65,16.525,-0.95), (11.1,-0.95,11.62,0.525), (14.38,-0.95,14.9,0.525), (1.065,-0.525,4.865,-0.155), (1.065,0.17,10.18,0.68), (15.815,0.17,24.93,0.68), (11.1,0.525,11.36,0.99), (14.64,0.525,14.9,0.99), (11.1,0.99,12.54,1.22), (13.46,0.99,14.9,1.22), (12.87,1.42,13.13,12.17), (25.26,1.825,25.52,12.17), (-0.11,12.17,26.11,12.68), (0,13,26,14)])
A(cmota_1_flat_1, via2, 9.54, -4.99, 0.2, 0.2, 8, 1, 0.96, 0)
A(cmota_1_flat_1, via2, 1.685, -0.44, 0.2, 0.2, 3, 1, 1.18, 0)
A(cmota_1_flat_1, via2, 21.75, -0.44, 0.2, 0.2, 3, 1, 1.18, 0)
R(cmota_1_flat_1, met3_pin, [(9.5,-5.05,9.8,-4.75), (16.2,-5.05,16.5,-4.75)])
R(cmota_1_flat_1, met3, [(9.445,-5.1,12.715,-4.69), (13.285,-5.1,16.555,-4.69), (4.3,-0.68,21.695,-0.525), (1.62,-0.525,24.375,-0.155)])
R(cmota_1_flat_1, nsdm, [(8.15,-16.825,17.85,-6.575), (-0.255,-11.245,6.185,-0.995), (19.81,-11.245,26.25,-0.995), (7.93,-4.625,18.07,-1.875), (-0.76,0.385,26.76,0.805), (-0.76,0.805,-0.34,12.045), (26.34,0.805,26.76,12.045), (-0.76,12.045,26.76,12.465)])
R(cmota_1_flat_1, psdm, [(7.64,-17.695,18.36,-17.275), (7.64,-17.275,8.06,-6.125), (17.94,-17.275,18.36,-6.125), (-0.765,-12.115,6.695,-11.695), (19.3,-12.115,26.76,-11.695), (-0.765,-11.695,-0.345,-0.545), (6.275,-11.695,6.695,-0.545), (19.3,-11.695,19.72,-0.545), (26.34,-11.695,26.76,-0.545), (7.64,-6.125,18.36,-5.495), (7.42,-5.495,18.58,-5.075), (7.42,-5.075,7.84,-1.425), (18.16,-5.075,18.58,-1.425), (7.42,-1.425,18.58,-1.005), (-0.765,-0.545,6.695,-0.125), (19.3,-0.545,26.76,-0.125), (-0.25,1.3,26.25,11.55)])
A(cmota_1_flat_1, npc, 8.7, -17.16, 1.73, 0.37, 4, 2, 2.29, 10.55)
A(cmota_1_flat_1, npc, 9.455, -5.02, 0.37, 0.37, 8, 1, 0.96, 0)
R(cmota_1_flat_1, npc, [(0.125,-11.58,5.805,-11.21), (20.19,-11.58,25.87,-11.21), (8.495,-1.89,8.865,-1.52), (17.135,-1.89,17.505,-1.52), (0.125,-1.03,5.805,-0.66), (20.19,-1.03,25.87,-0.66), (0.13,0.92,25.87,1.29), (0.13,11.56,11.71,11.93), (14.29,11.56,25.87,11.93)])
R(cmota_1_flat_1, lvtn, [(8.185,-4.68,17.815,-1.82)])
cmota_1_flat_1.add(gdstk.Label('VHI', (0.5,13.75), layer=69, texttype=16))
cmota_1_flat_1.add(gdstk.Label('VLO', (6,-18.25), layer=69, texttype=16))
cmota_1_flat_1.add(gdstk.Label('VREF', (8.422,-6.425), layer=68, texttype=16))
cmota_1_flat_1.add(gdstk.Label('VOP', (24.8,0.05), layer=69, texttype=16))
cmota_1_flat_1.add(gdstk.Label('VIP', (16.35,-4.9), layer=70, texttype=16))
cmota_1_flat_1.add(gdstk.Label('VIN', (9.65,-4.9), layer=70, texttype=16))

cmota_gp = lib.new_cell('cmota_gp')
R(cmota_gp, li1, [(13.5,-19,14.1,-17), (14.8,-18.9,15.2,-17.1)])
A(cmota_gp, mcon, 13.715, -18.805, 0.17, 0.17, 1, 5, 0, 0.36)
A(cmota_gp, mcon, 14.915, -18.805, 0.17, 0.17, 1, 5, 0, 0.36)
R(cmota_gp, met1_pin, [(-21.845,-35.42,-21.645,-35.22), (-21.505,-35.42,-21.305,-35.22)])
R(cmota_gp, met1, [(-21.845,-35.42,-21.645,-34.42), (-21.505,-35.42,-21.305,-34.42), (-6,-22.55,-5.6,-22.15), (13.5,-19,14.1,-17), (14.7,-19,15.3,-17)])
A(cmota_gp, via, 13.725, -18.715, 0.15, 0.15, 1, 5, 0, 0.32)
A(cmota_gp, via, 14.925, -18.715, 0.15, 0.15, 1, 5, 0, 0.32)
R(cmota_gp, via, [(-5.875,-22.425,-5.725,-22.275)])
R(cmota_gp, met2_pin, [(-21,-35.42,-20.6,-35.02), (9.3,-15.7,10.3,-15.5)])
R(cmota_gp, met2, [(-15,-39,-6,-35), (3,-39,10,-35), (-21,-35.42,-20.6,-35.04), (-21,-35.04,-20.07,-34.76), (-16.6,-35,-8,-33.5), (8,-35,10,-29), (-21,-34.76,-20.6,-34.215), (-14.2,-33.5,-11.7,-32.5), (-14.2,-32.5,-8,-31), (-14.2,-31,-11.7,-29), (-7,-22.55,-5.6,-22.15), (13.5,-19,14.1,-17), (14.7,-19,15.3,-17), (10.6,-15.8,12.7,-15.4), (9.3,-15.7,10.3,-15.5), (12,-15.4,12.7,-14.9), (-27.5,-14.1,-26.2,3), (-13,-3,10,0.5)])
A(cmota_gp, via2, -14.4, -38.3, 0.2, 0.2, 20, 7, 0.4, 0.4)
A(cmota_gp, via2, 3.6, -38.3, 0.2, 0.2, 15, 7, 0.4, 0.4)
A(cmota_gp, via2, 13.7, -18.7, 0.2, 0.2, 1, 4, 0, 0.4)
A(cmota_gp, via2, 14.9, -18.7, 0.2, 0.2, 1, 4, 0, 0.4)
A(cmota_gp, via2, -12.4, -2.35, 0.2, 0.2, 55, 6, 0.4, 0.4)
A(cmota_gp, via2, -27.35, 0.65, 0.2, 0.2, 3, 6, 0.4, 0.4)
R(cmota_gp, via2, [(-6.85,-22.45,-6.65,-22.25), (-6.45,-22.45,-6.25,-22.25), (12.25,-15.65,12.45,-15.45), (12.25,-15.25,12.45,-15.05)])
R(cmota_gp, met3_pin, [(-3.3,-21,-3.1,-20.9), (0.6,-21,0.8,-20.9)])
R(cmota_gp, met3, [(-38,-39,-24,-38), (-15,-39,-6,-35), (3,-39,10,-35), (-38,-38,-23,-36.5), (-38,-36.5,-24,-1), (-15,-30,-6.1,-29), (-18,-29,-6.1,-28.5), (-18,-28.5,-14,-28), (-7,-28.5,-6.1,-22.15), (-3.3,-21,-3.1,-20.9), (0.6,-21,0.8,-20.9), (16.9,-19.3,21.5,-18.7), (13.5,-19,14.1,-16.6), (14.7,-19,15.3,-18.7), (14.7,-18.7,21.5,-18.1), (14.7,-18.1,15.3,-17), (16.9,-18.1,21.5,-15.5), (13,-16.6,14.1,-16.525), (9.52,-16.525,14.1,-16.155), (13,-16.155,14.1,-16.1), (12,-15.8,12.7,-14.9), (13.5,-15.5,21.5,3.5), (-13,-3,10,0.5), (-27.5,0.5,-26.2,3)])
A(cmota_gp, via3, -37.3, -38.3, 0.2, 0.2, 32, 7, 0.4, 0.4)
A(cmota_gp, via3, -14.4, -38.3, 0.2, 0.2, 20, 7, 0.4, 0.4)
A(cmota_gp, via3, 3.6, -38.3, 0.2, 0.2, 15, 7, 0.4, 0.4)
A(cmota_gp, via3, -37.1, -32.1, 0.2, 0.2, 31, 76, 0.4, 0.4)
A(cmota_gp, via3, 17.1, -19.1, 0.2, 0.2, 11, 4, 0.4, 0.4)
A(cmota_gp, via3, 14.4, -14.7, 0.2, 0.2, 16, 44, 0.4, 0.4)
A(cmota_gp, via3, -12.4, -2.35, 0.2, 0.2, 55, 6, 0.4, 0.4)
A(cmota_gp, via3, -27.15, 0.85, 0.2, 0.2, 1, 5, 0, 0.4)
A(cmota_gp, via3, -26.75, 0.85, 0.2, 0.2, 1, 5, 0, 0.4)
R(cmota_gp, via3, [(12.25,-15.45,12.45,-15.25)])
R(cmota_gp, met4_pin, [(-19.2,-39,-18.3,-36.5), (-21.1,1.6,-19.2,3)])
R(cmota_gp, met4, [(-38,-39,10,-36.5), (-38,-36.5,-24,-35), (-15,-36.5,10,-35), (-38,-33,-24,-1), (16.9,-19.3,21.5,-17.5), (12,-15.8,12.7,-15.5), (12,-15.5,21.5,-14.9), (13.5,-14.9,21.5,3.5), (-13,-3,10,0.5), (-37,-1,-25,0.5), (-37,0.5,10,3)])
A(cmota_gp, via4, -37, -38.2, 0.8, 0.8, 8, 2, 1.6, 1.6)
A(cmota_gp, via4, -37, -31.8, 0.8, 0.8, 8, 19, 1.6, 1.6)
A(cmota_gp, via4, 14.7, -14.4, 0.8, 0.8, 4, 11, 1.6, 1.6)
R(cmota_gp, via4, [(18,-18.8,18.8,-18), (19.6,-18.8,20.4,-18)])
R(cmota_gp, met5, [(-38,-39,-24,-1), (16.9,-19.3,21.5,-15.5), (13.5,-15.5,21.5,3.5)])
R(cmota_gp, capm, [(-37.5,-32.5,-24.5,-1.5), (14,-15,21,3)])
R(cmota_gp, psdm, [(12.58,-21.655,12.69,-16.125)])
R(cmota_gp, cap2m, [(-37.5,-32.5,-24.5,-1.5), (14,-15,21,3)])
cmota_gp.add(gdstk.Reference(gated_iref_fix, (-21.5,-39.74), rotation=pi/2, x_reflection=True))
cmota_gp.add(gdstk.Reference(sky130_fd_pr__res_high_p, (14.395,-18.89), x_reflection=True))
cmota_gp.add(gdstk.Reference(cmota_1_flat_1, (-14.18,-16)))
cmota_gp.add(gdstk.Label('VLO', (-18.75,-37.75), layer=71, texttype=16))
cmota_gp.add(gdstk.Label('VHI', (-20.15,2.3), layer=71, texttype=16))
cmota_gp.add(gdstk.Label('VIN', (-3.2,-20.95), layer=70, texttype=16))
cmota_gp.add(gdstk.Label('VIP', (0.7,-20.95), layer=70, texttype=16))
cmota_gp.add(gdstk.Label('VOP', (9.8,-15.6), layer=69, texttype=16))
cmota_gp.add(gdstk.Label('S', (-21.745,-35.32), layer=68, texttype=16))
cmota_gp.add(gdstk.Label('SBAR', (-21.405,-35.32), layer=68, texttype=16))
cmota_gp.add(gdstk.Label('VREF', (-20.8,-35.22), layer=69, texttype=16))

lib.write_gds('cmota_gp.gds')
